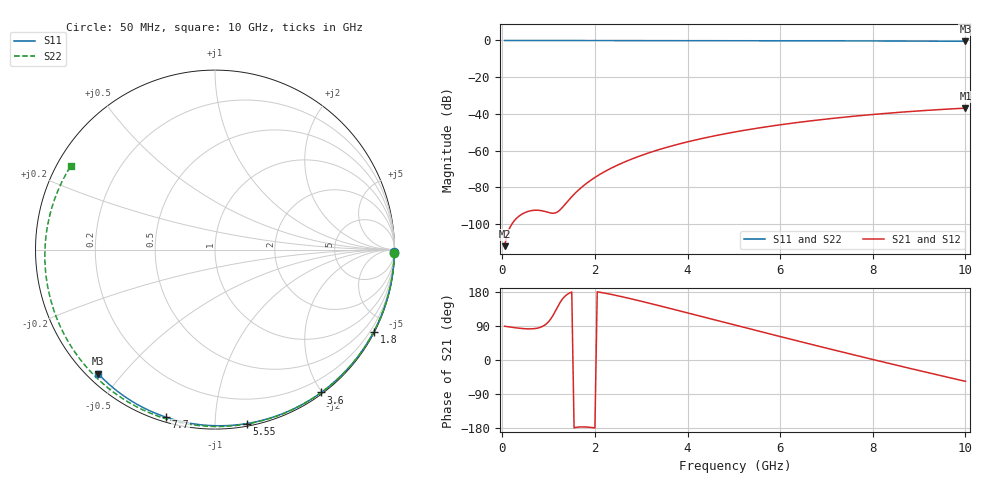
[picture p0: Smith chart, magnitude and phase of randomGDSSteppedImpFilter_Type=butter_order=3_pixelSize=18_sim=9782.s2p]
! freq	dB(S11)	phase(S11)	dB(S12)	phase(S12)
!  dB(S21)	phase(S21)	dB(S22)	phase(S22)
!S-par simulation data
#  GHz  S  DB  R 50
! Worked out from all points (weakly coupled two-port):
!   200 points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, 50 MHz to 10 GHz, reference 50 ohm
!   highest |S21| = -36.87 dB at 10 GHz (marker M1); lowest = -112.1 dB at 50 MHz (marker M2)
!   lowest |S11| = -0.5 dB at 10 GHz (marker M3), VSWR 38.60, Z = 1.54 - j21.6 ohm
!   |S11| at or under -10 dB: nowhere
!   |S22| runs from -0.6 to 0.0 dB; largest |S21 - S12| = 0
!   S11 on the Smith chart (normalised r, x): 50 MHz: open; 1.8 GHz: 0.04, -4.12; 3.6 GHz: 0.02, -1.99; 5.55 GHz: 0.02, -1.20; 7.7 GHz: 0.02, -0.75; 10 GHz: 0.03, -0.43
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0.05  -0.00 -0.8  -112.05 89.1  -112.05 89.1  -0.00 -1.2
0.45  -0.01 -6.9  -94.24 82.8  -94.24 82.8  -0.01 -10.4
0.85  -0.02 -13.0  -92.73 87.6  -92.73 87.6  -0.02 -19.5
1.7  -0.03 -25.8  -80.25 -176.6  -80.25 -176.6  -0.05 -38.7
1.75  -0.03 -26.6  -79.19 -176.5  -79.19 -176.5  -0.05 -39.8
1.8  -0.03 -27.3  -78.19 -176.7  -78.19 -176.7  -0.05 -40.9
2.1  -0.04 -31.7  -73.05 178.9  -73.05 178.9  -0.06 -47.5
2.5  -0.05 -37.6  -67.76 169.3  -67.76 169.3  -0.07 -56.2
2.9  -0.06 -43.4  -63.57 158.0  -63.57 158.0  -0.08 -64.7
3.4  -0.07 -50.5  -59.33 143.0  -59.33 143.0  -0.10 -75.2
3.6  -0.07 -53.4  -57.87 136.8  -57.87 136.8  -0.11 -79.3
4.3  -0.09 -63.1  -53.47 114.9  -53.47 114.9  -0.13 -93.5
5.05  -0.11 -73.1  -49.72 91.4  -49.72 91.4  -0.17 -108.3
5.55  -0.13 -79.7  -47.62 75.8  -47.62 75.8  -0.19 -118.0
6.1  -0.15 -86.7  -45.59 58.8  -45.59 58.8  -0.23 -128.7
6.7  -0.18 -94.2  -43.67 40.4  -43.67 40.4  -0.27 -140.2
7.7  -0.24 -106.4  -41.01 10.3  -41.01 10.3  -0.36 -159.9
8.35  -0.29 -114.1  -39.58 -9.0  -39.58 -9.0  -0.43 -173.2
8.8  -0.33 -119.4  -38.72 -22.1  -38.72 -22.1  -0.48 177.3
9.2  -0.37 -124.0  -38.03 -33.6  -38.03 -33.6  -0.53 168.5
9.6  -0.41 -128.6  -37.41 -45.0  -37.41 -45.0  -0.59 159.4
10  -0.45 -133.3  -36.87 -56.2  -36.87 -56.2  -0.64 149.9
